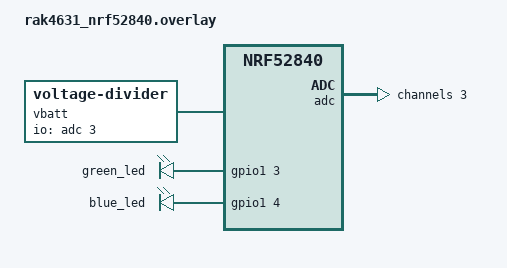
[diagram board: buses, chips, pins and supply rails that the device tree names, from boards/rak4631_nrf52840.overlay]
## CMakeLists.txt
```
# The nRF52840 port, built with Zephyr: the node every port shares (../node), the portable core
# from the top of the repository, and what is Zephyr's here (src/). See README.md:
#
#   west build -b heltec_t114_v2/nrf52840/uf2 ports/nrf52
cmake_minimum_required(VERSION 3.20.0)
find_package(Zephyr REQUIRED HINTS $ENV{ZEPHYR_BASE})
project(tern-nrf52 C)

set(root ${CMAKE_CURRENT_SOURCE_DIR}/../..)
set(node ${root}/ports/node)

# The core, file by file, as the top-level CMakeLists.txt lists it.
file(GLOB core ${root}/src/*.c)

target_sources(app PRIVATE
    src/platform.c
    src/board.c
    src/ble.c
    ${node}/node.c
    ${node}/link.c
    ${node}/demo.c
    ${node}/display.c
    ${node}/status.c
    ${node}/ui.c
    ${node}/qr.c
    ${node}/power.c
    ${core})
target_include_directories(app PRIVATE src ${node} ${root}/include)
# Warnings as the rest of the repository has them, on what is ours (not Zephyr's headers' doing).
target_compile_options(app PRIVATE -Wextra -Wshadow -Wno-unused-parameter -Werror)
```

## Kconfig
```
# The settings a Tern node is built with: those every port shares (../node/Kconfig.tern), and the
# board's names, from the Zephyr board the build is for (release.sh). Everything else about a board
# is its devicetree (src/board.c, boards/).

menu "Tern demo"

    config TERN_BOARD_NAME
        string
        default "heltec-t114" if BOARD_HELTEC_T114_V2
        default "rak4631" if BOARD_RAK4631
        default "wio-tracker-l1" if BOARD_WIO_TRACKER_L1
        help
            The name a client finds an image by: tern-<name>-<region>-<version>.

    config TERN_BOARD_TITLE
        string
        default "Heltec Mesh Node T114" if BOARD_HELTEC_T114_V2
        default "RAKwireless RAK4631" if BOARD_RAK4631
        default "Seeed Wio Tracker L1" if BOARD_WIO_TRACKER_L1
        help
            The board's name, as its maker sells it.

    config TERN_BUTTON_NAME
        string
        default "USER" if BOARD_HELTEC_T114_V2
        default "PRG"
        help
            What the board's button is marked, as its user looks for it, at most four
            characters. A board with no button (sw0) has none, whatever this says.

    rsource "../node/Kconfig.tern"

endmenu

source "Kconfig.zephyr"
```

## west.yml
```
# The Zephyr this port builds against, and only the modules it needs. With the repository checked
# out as `firmware` in an empty directory:
#
#   west init -l --mf ports/nrf52/west.yml firmware
#   west update
#
# Zephyr is a commit on main, not a release: the Heltec T114 V2's board came after v4.4's branch.
# It moves to v4.5 once that is released.
manifest:
  remotes:
    - name: zephyrproject-rtos
      url-base: https://github.com/zephyrproject-rtos
  projects:
    - name: zephyr
      remote: zephyrproject-rtos
      revision: 64437be51c302e42003b3b1dcbf45c8ad7fd1f08
      import:
        name-allowlist:
          - cmsis_6
          - hal_nordic
          - mbedtls
          - tf-psa-crypto
  self:
    path: firmware
```

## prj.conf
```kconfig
# What the node needs of Zephyr on an nRF52840.

# The node's loop runs in main(): a handshake's arithmetic needs more stack than most
# (tern/contact.h), and 'selftest' says how much is left.
CONFIG_MAIN_STACK_SIZE=16384
CONFIG_THREAD_STACK_INFO=y
CONFIG_INIT_STACKS=y
CONFIG_SPEED_OPTIMIZATIONS=y
CONFIG_PICOLIBC_IO_LONG_LONG=y

# The board: the radio's SPI bus and lines, the screen, the battery's ADC.
CONFIG_GPIO=y
CONFIG_SPI=y
CONFIG_ADC=y
CONFIG_DISPLAY=y
CONFIG_LORA=n

# The console, and the companion link a computer drives over it, are USB CDC ACM (the board's
# default). Nothing else writes to it: Zephyr's own log would land in the companion's stream.
CONFIG_SERIAL=y
CONFIG_UART_LINE_CTRL=y
CONFIG_LOG=n

# What the node saves: Zephyr's settings, on NVS, in the storage partition.
CONFIG_FLASH=y
CONFIG_FLASH_MAP=y
CONFIG_FLASH_PAGE_LAYOUT=y
CONFIG_NVS=y
CONFIG_SETTINGS=y
CONFIG_SETTINGS_NVS=y

# Keys from the chip's true generator.
CONFIG_ENTROPY_GENERATOR=y

CONFIG_REBOOT=y
CONFIG_POWEROFF=y

# The companion link over Bluetooth LE (src/ble.c): one peripheral connection, frames of up to 180
# bytes in one notification, and only LE Secure Connections pairing with a passkey the node shows,
# its bonds kept in the settings.
CONFIG_BT=y
CONFIG_BT_PERIPHERAL=y
CONFIG_BT_DEVICE_NAME="Tern"
CONFIG_BT_DEVICE_NAME_DYNAMIC=y
CONFIG_BT_MAX_CONN=1
CONFIG_BT_MAX_PAIRED=8
CONFIG_BT_SMP=y
CONFIG_BT_SMP_SC_ONLY=y
CONFIG_BT_BONDABLE=y
CONFIG_BT_APP_PASSKEY=y
CONFIG_BT_SETTINGS=y
CONFIG_BT_L2CAP_TX_MTU=247
CONFIG_BT_BUF_ACL_RX_SIZE=251
CONFIG_BT_BUF_ACL_TX_SIZE=251
CONFIG_BT_BUF_ACL_TX_COUNT=10
CONFIG_BT_BUF_EVT_RX_COUNT=12
CONFIG_BT_CTLR_DATA_LENGTH_MAX=251
CONFIG_BT_ATT_PREPARE_COUNT=0
# The thread that takes what the controller hears finishes a pairing, and LE Secure Connections'
# keys are worked out there with PSA's crypto: up to 1344 bytes of stack on a T114, measured, where
# Zephyr gives it 1200. With that, every pairing overflowed it and the board stopped dead.
CONFIG_BT_RX_STACK_SIZE=2048

# A relay's table of RELAY_PLACES destinations (the specification's routing draft): 48 KB of the
# nRF52840's 256. Built with it, the RAK4631 uses 204 KB (78%).
CONFIG_TERN_DESTINATIONS=1024

# The sessions, contacts, groups and cards it holds (ports/node/capacity.h): about 20 KB of RAM
# more than the smallest board's, and what its 32 KB storage partition keeps beside the messages.
CONFIG_TERN_SESSIONS=16
CONFIG_TERN_CONTACTS=32
CONFIG_TERN_GROUPS=8
CONFIG_TERN_CARDS=64
```

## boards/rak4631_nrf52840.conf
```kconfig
# The RAK4631's UF2 bootloader takes an image at the code partition the overlay lays out, and its
# console is USB CDC ACM, as on the boards whose Zephyr board says so itself.
CONFIG_BUILD_OUTPUT_UF2=y
CONFIG_USE_DT_CODE_PARTITION=y
CONFIG_USB_DEVICE_STACK_NEXT=y
CONFIG_USBD_CDC_ACM_CLASS=y
CONFIG_CDC_ACM_SERIAL_INITIALIZE_AT_BOOT=y
CONFIG_UART_CONSOLE=y
CONFIG_USE_SEGGER_RTT=n
```

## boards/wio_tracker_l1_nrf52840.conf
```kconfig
# The Wio Tracker L1's screen is on I2C.
CONFIG_I2C=y
```

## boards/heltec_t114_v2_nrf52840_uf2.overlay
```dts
/*
 * The T114 for this port. Its radio is driven by Tern's own SX1262 driver (src/sx126x.c), over
 * the bus and lines Zephyr's board gives it, so Zephyr's LoRa driver is not built. Its screen is
 * initialised once board_screen_init() has powered it (TFT_EN), not at boot.
 */

/ {
	/* The board's switches for the screen, its backlight, Vext and the battery's divider have
	 * no binding of their own; this one's makes their lines readable as GPIOs. No LED driver is
	 * built, so nothing else takes them. */
	board_controls {
		compatible = "gpio-leds";
	};

	/* The battery through 390k over 100k onto AIN2, behind a switch P0.06 turns on (Heltec's
	 * schematic, MeshNode-T114_V2.1), which Zephyr's board gives only as adc-control. */
	vbatt: vbatt {
		compatible = "voltage-divider";
		io-channels = <&adc 2>;
		output-ohms = <100000>;
		full-ohms = <490000>;
		power-gpios = <&gpio0 6 GPIO_ACTIVE_HIGH>;
	};
};

&lora {
	status = "disabled";
	/* The datasheet's 16 MHz, halved, as on the ESP32 boards. */
	spi-max-frequency = <8000000>;
};

&tft_display {
	zephyr,deferred-init;
};
```

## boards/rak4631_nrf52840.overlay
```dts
/*
 * The RAKwireless RAK4631, on a RAK19007 or RAK19003 base board, for this port. Zephyr's board for
 * it is laid out for MCUboot over SWD; the RAK4631 ships with Adafruit's UF2 bootloader over
 * SoftDevice S140 6.1.1 (RAKWireless/WisBlock, bootloader/RAK4630), so this lays the image out
 * for that, at 0x26000, with its console on USB. Where RAK's documents and Zephyr's board differ,
 * RAK's are taken:
 *
 *  - The antenna switch is powered from P1.05 (RAK4631 datasheet, "ANT_SW P1.05 - SX1262 RF switch
 *    power"; RAK's own Zephyr overlay drives it high), and DIO2 switches it between sending and
 *    receiving: on while the radio is, rather than Zephyr's rx-enable, low.
 *  - Its TCXO is set to 1.8 V from DIO3, as RAK's own patch for the board sets it
 *    (RAK4630-Amazon-Sidewalk-Example); the SX1262 runs from 3.3 V, below which DIO3 must be.
 *  - Its LEDs, green on P1.03 and blue on P1.04, light when high (RAK's bootloader, board.h,
 *    LED_STATE_ON 1).
 *
 * The base boards have no user button, only RESET. The battery is on WisBlock's AIN0, P0.05/AIN3,
 * through 1M over 1.5M with no switch (RAK4631 datasheet's schematic; Zephyr's RAK19007 shield).
 * Its radio is driven by Tern's own SX1262 driver (src/sx126x.c), so Zephyr's LoRa driver is not
 * built.
 */

/* Zephyr's board's MCUboot layout, out, and the UF2 bootloader's in. */
&flash0 {
	/delete-node/ partitions;
};

#include <nordic/nrf52840_partition_uf2_sdv6.dtsi>
#include <../boards/common/usb/cdc_acm_serial.dtsi>

&lora {
	status = "disabled";
	/delete-property/ rx-enable-gpios;
	antenna-enable-gpios = <&gpio1 5 GPIO_ACTIVE_HIGH>;
	dio3-tcxo-voltage = <SX126X_DIO3_TCXO_1V8>;
};

&green_led {
	gpios = <&gpio1 3 GPIO_ACTIVE_HIGH>;
};

&blue_led {
	gpios = <&gpio1 4 GPIO_ACTIVE_HIGH>;
};

/ {
	aliases {
		led0 = &green_led;
	};

	vbatt: vbatt {
		compatible = "voltage-divider";
		io-channels = <&adc 3>;
		output-ohms = <1500000>;
		full-ohms = <2500000>;
	};
};

&adc {
	#address-cells = <1>;
	#size-cells = <0>;

	channel@3 {
		reg = <3>;
		zephyr,gain = "ADC_GAIN_1_6";
		zephyr,reference = "ADC_REF_INTERNAL";
		/* The divider is megohms: the longest acquisition the SAADC has, for its sampling
		 * capacitor to charge through them. */
		zephyr,acquisition-time = <ADC_ACQ_TIME(ADC_ACQ_TIME_MICROSECONDS, 40)>;
		zephyr,input-positive = <NRF_SAADC_AIN3>;
		zephyr,resolution = <12>;
	};
};
```

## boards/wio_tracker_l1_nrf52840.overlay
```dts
/*
 * The Seeed Wio Tracker L1 for this port, over Zephyr's board for it (wio_tracker_l1): its radio
 * is driven by Tern's own SX1262 driver (src/sx126x.c), so Zephyr's LoRa driver is not built.
 * Everything else the node uses is Zephyr's board as it is, which agrees with Seeed's schematic
 * (Wio_Tracker_L1_Pro_SCH, v1.3) where that says: the radio's lines; the menu button on P0.08 (sw0);
 * the LED on P1.01 (led0); the 128x64 screen at 0x3D on I2C (zephyr,display), an SH1106 by
 * Zephyr's board, which Seeed's documents do not name; and the battery through an even divider
 * onto AIN7, behind a switch P0.04 turns on (vbatt). The module's RF_SW line, P1.08, has no level
 * in Seeed's documents; it is driven as Zephyr's board has it, high while receiving.
 *
 * The L1 Lite is the same board without a screen, and runs this image without one.
 */

&lora {
	status = "disabled";
};
```

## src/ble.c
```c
#include "ble.h"

#include <stdio.h>
#include <string.h>

#include <zephyr/bluetooth/bluetooth.h>
#include <zephyr/bluetooth/conn.h>
#include <zephyr/bluetooth/gatt.h>
#include <zephyr/bluetooth/uuid.h>
#include <zephyr/kernel.h>
#include <zephyr/random/random.h>
#include <zephyr/settings/settings.h>

/* The companion link over Bluetooth LE on Zephyr's host and the nRF52840's controller: the same
 * service, pairing and frames as the ESP32's over NimBLE (../../esp32/main/ble.c), which
 * draft/companion.md, "Bluetooth LE", defines. Zephyr reports from its own threads; what it
 * reports is queued for the loop's ble_poll(), so link.c is only ever called from the loop. */

/* The draft's UUIDs, least significant byte first. */
#define TERN_UUID(n)                                                                               \
    BT_UUID_INIT_128(0x40, 0xff, 0x50, 0xdd, 0x41, 0x17, 0x9b, 0x88, 0x1c, 0x4c, 0x17, 0xeb, (n),  \
                     0x00, 0x28, 0x7a)

static const struct bt_uuid_128 service_uuid = TERN_UUID(0x01);
static const struct bt_uuid_128 to_node_uuid = TERN_UUID(0x02);
static const struct bt_uuid_128 from_node_uuid = TERN_UUID(0x03);

#define EVENTS 8
/* Frames waiting for a buffer: more than the largest sync (link.h). */
#define WAITING 128

K_MSGQ_DEFINE(events, sizeof(struct ble_event), EVENTS, 4);

/* The client's connection, taken and let go of in Zephyr's threads; the loop takes a reference of
 * its own under `conn_lock` before using it (connection()). */
static struct bt_conn *conn;
static struct k_spinlock conn_lock;
static volatile uint32_t gen;    /* counts connections; the present one's */
static volatile bool paired;     /* the client on `conn` paired with a passkey */
static volatile bool subscribed; /* and asked for notifications */
static volatile uint32_t passkey_setting;
static volatile uint32_t shown_passkey; /* this pairing's, if the node chose it */
static bool have_screen;

static void post(const struct ble_event *e) {
    if (k_msgq_put(&events, e, K_NO_WAIT) != 0) {
        printf("bluetooth: an event was lost\n");
    }
}

static void post_kind(enum ble_event_kind kind, uint16_t mtu, uint32_t passkey) {
    struct ble_event e = {.kind = kind, .gen = gen, .mtu = mtu, .passkey = passkey};
    post(&e);
}

/* The loop's side: the connection the link has open, and the frames waiting to go to it. */
static uint32_t open_gen; /* 0: none */
static struct {
    uint8_t len;
    uint8_t frame[TERN_COMPANION_MAX_FRAME];
} waiting[WAITING];
static size_t first, n_waiting;

/* A client's write to the node: one frame. The characteristic asks for an encrypted link made by
 * LE Secure Connections with a passkey, which Zephyr enforces; it is refused whole if it is longer
 * than a frame, or comes in parts. */
static ssize_t on_write(struct bt_conn *c, const struct bt_gatt_attr *attr, const void *buf,
                        uint16_t len, uint16_t offset, uint8_t flags) {
    (void)attr;
    (void)flags;
    if (c != conn || !paired) {
        return BT_GATT_ERR(BT_ATT_ERR_AUTHENTICATION);
    }
    if (offset != 0) {
        return BT_GATT_ERR(BT_ATT_ERR_INVALID_OFFSET);
    }
    struct ble_event e = {.kind = BLE_FRAME, .gen = gen};
    if (len > sizeof e.frame) {
        return BT_GATT_ERR(BT_ATT_ERR_INVALID_ATTRIBUTE_LEN);
    }
    memcpy(e.frame, buf, len);
    e.len = len;
    post(&e);
    return len;
}

static void on_ccc(const struct bt_gatt_attr *attr, uint16_t value) {
    (void)attr;
    subscribed = value == BT_GATT_CCC_NOTIFY;
}

BT_GATT_SERVICE_DEFINE(tern_service, BT_GATT_PRIMARY_SERVICE(&service_uuid),
                       BT_GATT_CHARACTERISTIC(&to_node_uuid.uuid, BT_GATT_CHRC_WRITE,
                                              BT_GATT_PERM_WRITE_LESC, NULL, on_write, NULL),
                       BT_GATT_CHARACTERISTIC(&from_node_uuid.uuid, BT_GATT_CHRC_NOTIFY,
                                              BT_GATT_PERM_NONE, NULL, NULL, NULL),
                       BT_GATT_CCC(on_ccc, BT_GATT_PERM_READ | BT_GATT_PERM_WRITE_LESC));

/* The value attribute of from_node: the service's declaration, to_node's two, then its own. */
#define FROM_NODE_ATTR (&tern_service.attrs[4])

static const struct bt_data ad[] = {
    BT_DATA_BYTES(BT_DATA_FLAGS, (BT_LE_AD_GENERAL | BT_LE_AD_NO_BREDR)),
    BT_DATA(BT_DATA_UUID128_ALL, service_uuid.val, sizeof service_uuid.val),
};
/* What the scan response names the node: nothing of its address or its user's name for it. Set
 * by ble_start(). */
static char name[BLE_NAME_LEN + 1];
static struct bt_data sd[] = {
    {.type = BT_DATA_NAME_COMPLETE, .data = (const uint8_t *)name},
};

static void advertise(void) {
    int err = bt_le_adv_start(BT_LE_ADV_CONN_FAST_2, ad, ARRAY_SIZE(ad), sd, ARRAY_SIZE(sd));
    if (err != 0 && err != -EALREADY) {
        printf("bluetooth: could not advertise (%d)\n", err);
    }
}

static void on_connected(struct bt_conn *c, uint8_t err) {
    if (err != 0) {
        return;
    }
    k_spinlock_key_t key = k_spin_lock(&conn_lock);
    conn = bt_conn_ref(c);
    k_spin_unlock(&conn_lock, key);
    paired = subscribed = false;
    gen++;
    /* Ask for the pairing at once; a client that has a bond restores it instead. */
    if (bt_conn_set_security(c, BT_SECURITY_L4) != 0) {
        bt_conn_disconnect(c, BT_HCI_ERR_AUTH_FAIL);
    }
}

static void on_disconnected(struct bt_conn *c, uint8_t reason) {
    (void)reason;
    if (c != conn) {
        return;
    }
    if (paired) {
        post_kind(BLE_CLOSE, 0, 0);
    }
    paired = subscribed = false;
    k_spinlock_key_t key = k_spin_lock(&conn_lock);
    struct bt_conn *gone = conn;
    conn = NULL;
    k_spin_unlock(&conn_lock, key);
    bt_conn_unref(gone);
}

/* The controller frees its connection after the disconnection is reported: advertising again then,
 * with the one connection there is to give. */
static void on_recycled(void) { advertise(); }

static void on_security(struct bt_conn *c, bt_security_t level, enum bt_security_err err) {
    if (c != conn) {
        return;
    }
    post_kind(BLE_PAIRED, 0, 0);
    struct bt_conn_info info;
    /* Encrypted by a key from LE Secure Connections with a passkey, at full length: anything less
     * is not a client that may drive the node. */
    if (err != BT_SECURITY_ERR_SUCCESS || level < BT_SECURITY_L4 ||
        bt_conn_get_info(c, &info) != 0 || info.security.enc_key_size < 16) {
        printf("bluetooth: a link without passkey pairing; dropped\n");
        bt_conn_disconnect(c, BT_HCI_ERR_AUTH_FAIL);
        return;
    }
    if (!paired) {
        paired = true;
        post_kind(BLE_OPEN, bt_gatt_get_mtu(c), 0);
    }
}

BT_CONN_CB_DEFINE(conn_callbacks) = {
    .connected = on_connected,
    .disconnected = on_disconnected,
    .recycled = on_recycled,
    .security_changed = on_security,
};

static void on_mtu(struct bt_conn *c, uint16_t tx, uint16_t rx) {
    (void)rx;
    if (c == conn && paired) {
        post_kind(BLE_MTU, tx, 0);
    }
}

static struct bt_gatt_cb gatt_callbacks = {.att_mtu_updated = on_mtu};

/* A passkey from 0 to 999999, uniform, from the chip's true generator. */
static uint32_t random_passkey(void) {
    const uint32_t keys = 1000000, limit = UINT32_MAX - UINT32_MAX % keys;
    uint32_t r;
    do {
        sys_csrand_get(&r, sizeof r);
    } while (r >= limit);
    return r % keys;
}

/* The passkey for this pairing: the one set, or a new one to show on the screen. */
static uint32_t app_passkey(struct bt_conn *c) {
    (void)c;
    uint32_t key = passkey_setting;
    shown_passkey = BLE_PASSKEY_RANDOM;
    if (key == BLE_PASSKEY_RANDOM) {
        key = random_passkey();
        shown_passkey = key;
    }
    return key;
}

/* Only the node shows a passkey, and the client types it: Zephyr pairs as a display with no
 * keyboard, which with LE Secure Connections only is protection against a man in the middle. */
static void passkey_display(struct bt_conn *c, unsigned int passkey) {
    if (shown_passkey == BLE_PASSKEY_RANDOM) {
        return; /* the one set, which the user knows */
    }
    if (!have_screen) {
        printf("bluetooth: no passkey set and no screen to show one: not pairing. Set one over "
               "USB.\n");
        bt_conn_auth_cancel(c);
        return;
    }
    post_kind(BLE_PASSKEY, 0, passkey);
}

static void auth_cancel(struct bt_conn *c) { (void)c; }

static const struct bt_conn_auth_cb auth_callbacks = {
    .app_passkey = app_passkey,
    .passkey_display = passkey_display,
    .cancel = auth_cancel,
};

bool ble_start(const char *node_name, uint32_t passkey, bool screen) {
    snprintf(name, sizeof name, "%s", node_name);
    sd[0].data_len = (uint8_t)strlen(name);
    passkey_setting = passkey;
    have_screen = screen;
    if (bt_enable(NULL) != 0) {
        return false;
    }
    (void)settings_load_subtree("bt");
    /* After the settings, which keep the name the last start set: the GAP service's, for a client
     * that reads it once connected. */
    if (bt_set_name(name) != 0) {
        printf("bluetooth: could not set the name\n");
    }
    if (bt_conn_auth_cb_register(&auth_callbacks) != 0) {
        bt_disable();
        return false;
    }
    bt_gatt_cb_register(&gatt_callbacks);
    advertise();
    return true;
}

void ble_passkey(uint32_t passkey) { passkey_setting = passkey; }

/* The client's connection with a reference the caller holds and lets go of (bt_conn_unref()), so
 * that a disconnection in Zephyr's thread cannot free it while the loop uses it; or NULL. */
static struct bt_conn *connection(void) {
    k_spinlock_key_t key = k_spin_lock(&conn_lock);
    struct bt_conn *c = conn != NULL ? bt_conn_ref(conn) : NULL;
    k_spin_unlock(&conn_lock, key);
    return c;
}

/* Sends what is waiting, oldest first, until Zephyr is out of buffers; the rest goes on a later
 * call. What was queued for a connection that has since gone is dropped. */
static void pump(void) {
    if (open_gen == 0 || open_gen != gen) {
        n_waiting = 0;
        return;
    }
    struct bt_conn *c = connection();
    if (c == NULL) {
        return;
    }
    while (n_waiting > 0 && paired && subscribed) {
        int err = bt_gatt_notify(c, FROM_NODE_ATTR, waiting[first].frame, waiting[first].len);
        if (err == -ENOMEM || err == -EAGAIN || err == -ENOBUFS) {
            break;
        }
        if (err != 0) {
            printf("bluetooth: a frame to the client was lost (%d)\n", err);
        }
        first = (first + 1) % WAITING;
        n_waiting--;
    }
    bt_conn_unref(c);
}

bool ble_poll(struct ble_event *e) {
    pump();
    while (k_msgq_get(&events, e, K_NO_WAIT) == 0) {
        if (e->kind == BLE_OPEN) {
            open_gen = e->gen;
            n_waiting = 0;
            return true;
        }
        if (e->gen != open_gen) {
            /* From a connection the link no longer has: a frame written just before it went, or
             * a passkey for one that is pairing, which is the present connection's. */
            if (e->kind != BLE_PASSKEY && e->kind != BLE_PAIRED) {
                continue;
            }
            return true;
        }
        if (e->kind == BLE_CLOSE) {
            open_gen = 0;
            n_waiting = 0;
        }
        return true;
    }
    return false;
}

void ble_send(const uint8_t *frame, size_t len) {
    if (open_gen == 0 || len > TERN_COMPANION_MAX_FRAME) {
        return;
    }
    if (n_waiting == WAITING) {
        printf("bluetooth: too many frames waiting; one to the client was lost\n");
        return;
    }
    size_t i = (first + n_waiting) % WAITING;
    memcpy(waiting[i].frame, frame, len);
    waiting[i].len = (uint8_t)len;
    n_waiting++;
    pump();
}

bool ble_flush(uint32_t ms) {
    for (uint32_t waited = 0;; waited += 10) {
        pump();
        if (n_waiting == 0 || waited >= ms) {
            return n_waiting == 0;
        }
        k_msleep(10);
    }
}

/* bt_unpair() with any address forgets every bond, and drops the client connected. */
void ble_forget(void) { (void)bt_unpair(BT_ID_DEFAULT, BT_ADDR_LE_ANY); }

static void count_bond(const struct bt_bond_info *info, void *n) {
    (void)info;
    (*(unsigned *)n)++;
}

unsigned ble_paired(void) {
    unsigned n = 0;
    bt_foreach_bond(BT_ID_DEFAULT, count_bond, &n);
    return n;
}
```

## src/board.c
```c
#include "board.h"

#include <string.h>

#include <zephyr/device.h>
#include <zephyr/drivers/adc.h>
#include <zephyr/drivers/display.h>
#include <zephyr/drivers/gpio.h>
#include <zephyr/drivers/spi.h>
#include <zephyr/drivers/uart.h>
#include <zephyr/kernel.h>
#include <zephyr/sys/poweroff.h>
#include <zephyr/sys/reboot.h>

#include "power.h"
#include "tern/err.h"
#include "tern/sx126x.h"

/* An nRF52840 board wired to an SX1262, read from its devicetree: Zephyr's board for it, and this
 * port's overlay on it in boards/, which says what Zephyr's does not or overrides it where the
 * maker's documents disagree. So a board Zephyr has is an overlay and a line in Kconfig, not code
 * here. From the devicetree:
 *
 *   lora                 the SX1262 node (semtech,sx1262): its bus, reset-gpios, busy-gpios, its
 *                        TCXO's voltage (dio3-tcxo-voltage) and whether DIO2 drives the antenna
 *                        switch (dio2-tx-enable). Its antenna-enable-gpios, if it has them, are on
 *                        while the radio is, and its rx-enable-gpios and tx-enable-gpios while it
 *                        receives and while it sends, as Zephyr's own driver drives them.
 *   sw0, led0            the button and the LED, if the board has them
 *   zephyr,display       the screen, if it has one: a 128x64 monochrome panel whose memory is in
 *                        pages (the SSD1306 or SH1106), or a colour one the picture is drawn into
 *   vbatt                the battery's divider (voltage-divider): its ADC channel, its resistors,
 *                        and the switch that connects it (power-gpios), if any
 *   tft-en, tft-led-en,  switches a board's screen, backlight or external supply hangs on, if it
 *   vext-control         has them
 */

#define LORA DT_NODELABEL(lora)
#define VBATT DT_NODELABEL(vbatt)
#define NONE                                                                                       \
    { 0 }

static const struct spi_dt_spec lora_spi =
    SPI_DT_SPEC_GET(LORA, SPI_WORD_SET(8) | SPI_TRANSFER_MSB | SPI_OP_MODE_CONTROLLER);
static const struct gpio_dt_spec lora_reset = GPIO_DT_SPEC_GET(LORA, reset_gpios);
static const struct gpio_dt_spec lora_busy = GPIO_DT_SPEC_GET(LORA, busy_gpios);
static const struct gpio_dt_spec lora_ant = GPIO_DT_SPEC_GET_OR(LORA, antenna_enable_gpios, NONE);
static const struct gpio_dt_spec lora_rx = GPIO_DT_SPEC_GET_OR(LORA, rx_enable_gpios, NONE);
static const struct gpio_dt_spec lora_tx = GPIO_DT_SPEC_GET_OR(LORA, tx_enable_gpios, NONE);
static const struct gpio_dt_spec button = GPIO_DT_SPEC_GET_OR(DT_ALIAS(sw0), gpios, NONE);
static const struct gpio_dt_spec led = GPIO_DT_SPEC_GET_OR(DT_ALIAS(led0), gpios, NONE);
static const struct gpio_dt_spec tft_en = GPIO_DT_SPEC_GET_OR(DT_ALIAS(tft_en), gpios, NONE);
static const struct gpio_dt_spec tft_led_en =
    GPIO_DT_SPEC_GET_OR(DT_ALIAS(tft_led_en), gpios, NONE);
static const struct gpio_dt_spec vext = GPIO_DT_SPEC_GET_OR(DT_ALIAS(vext_control), gpios, NONE);
static const struct device *const console = DEVICE_DT_GET(DT_CHOSEN(zephyr_console));

#if DT_HAS_CHOSEN(zephyr_display)
static const struct device *const screen = DEVICE_DT_GET(DT_CHOSEN(zephyr_display));
#endif

#if DT_NODE_EXISTS(VBATT)
static const struct adc_dt_spec battery = ADC_DT_SPEC_GET(VBATT);
static const struct gpio_dt_spec battery_switch = GPIO_DT_SPEC_GET_OR(VBATT, power_gpios, NONE);
#define DIVIDER_FULL DT_PROP(VBATT, full_ohms)
#define DIVIDER_OUTPUT DT_PROP(VBATT, output_ohms)
#endif

/* The TCXO's supply from DIO3, in millivolts, from Zephyr's code for it (dt-bindings/lora/
 * sx126x.h), or 0 for a crystal. */
static const uint16_t tcxo_mv[] = {1600, 1700, 1800, 2200, 2400, 2700, 3000, 3300};
#if DT_NODE_HAS_PROP(LORA, dio3_tcxo_voltage)
#define TCXO_MV tcxo_mv[DT_PROP(LORA, dio3_tcxo_voltage)]
#else
#define TCXO_MV 0
#endif

#define BATTERY_SETTLE_US 2000
#define BATTERY_SAMPLES 16
#define BUSY_TIMEOUT_US 100000

#define POWER_MIN_DBM (-9) /* the SX1262's high-power amplifier */
#define POWER_MAX_DBM 22

static struct power_sense sense;
static bool have_adc;
static struct tern_sx126x sx;

/* Sets a line the board may not have. */
static void set(const struct gpio_dt_spec *g, int value) {
    if (g->port != NULL) {
        (void)gpio_pin_set_dt(g, value);
    }
}

static bool output(const struct gpio_dt_spec *g, gpio_flags_t flags) {
    return g->port == NULL || gpio_pin_configure_dt(g, flags) == 0;
}

const char *board_title(void) { return CONFIG_TERN_BOARD_TITLE; }
int8_t board_power_min(void) { return POWER_MIN_DBM; }
int8_t board_power_max(void) { return POWER_MAX_DBM; }
bool board_power_ok(int dbm) { return dbm >= POWER_MIN_DBM && dbm <= POWER_MAX_DBM; }

tern_time board_now(void) { return (tern_time)k_ticks_to_ns_floor64(k_uptime_ticks()); }

/* --- The radio ------------------------------------------------------------------------------- */

static tern_time bus_now(void *ctx) {
    (void)ctx;
    return board_now();
}

static int bus_transfer(void *ctx, const uint8_t *tx, uint8_t *rx, size_t len) {
    (void)ctx;
    /* The chip raises BUSY while it works on the last command and takes no new one until it
     * drops (datasheet section 8.3.1). */
    int64_t start = k_uptime_ticks();
    while (gpio_pin_get_dt(&lora_busy) == 1) {
        if (k_ticks_to_us_floor64(k_uptime_ticks() - start) > BUSY_TIMEOUT_US) {
            return TERN_EIO;
        }
    }
    const struct spi_buf tx_buf = {.buf = (void *)tx, .len = len};
    const struct spi_buf_set tx_set = {.buffers = &tx_buf, .count = 1};
    struct spi_buf rx_buf = {.buf = rx, .len = len};
    const struct spi_buf_set rx_set = {.buffers = &rx_buf, .count = 1};
    return spi_transceive_dt(&lora_spi, &tx_set, rx != NULL ? &rx_set : NULL) == 0 ? TERN_OK
                                                                                   : TERN_EIO;
}

int board_init(void) {
    if (!spi_is_ready_dt(&lora_spi) || !gpio_is_ready_dt(&lora_reset) ||
        gpio_pin_configure_dt(&lora_reset, GPIO_OUTPUT_INACTIVE) != 0 ||
        gpio_pin_configure_dt(&lora_busy, GPIO_INPUT) != 0 || !output(&led, GPIO_OUTPUT_INACTIVE) ||
        !output(&lora_rx, GPIO_OUTPUT_INACTIVE) || !output(&lora_tx, GPIO_OUTPUT_INACTIVE) ||
        !output(&lora_ant, GPIO_OUTPUT_ACTIVE)) {
        return TERN_EIO;
    }
    /* Hold NRESET low for over 100 us (section 8.1), then let the chip start. */
    gpio_pin_set_dt(&lora_reset, 1);
    k_busy_wait(1000);
    gpio_pin_set_dt(&lora_reset, 0);
    k_busy_wait(10000);

    struct tern_sx126x_bus sb = {.ctx = NULL, .transfer = bus_transfer, .now = bus_now};
    struct tern_sx126x_board wiring = {
        .tcxo_mv = TCXO_MV, .dio2_rf_switch = DT_PROP(LORA, dio2_tx_enable), .dcdc = true};
    return tern_sx126x_init(&sx, &sb, &wiring);
}

/* A board whose antenna switch has lines of its own (rx-enable-gpios, tx-enable-gpios) is driven
 * through a radio that wraps the chip's and sets them: the one for receiving while it receives,
 * the one for sending while a frame goes, and neither otherwise, as Zephyr's driver sets them. */

static struct tern_radio chip;

static void switch_to(bool rx, bool tx) {
    set(&lora_tx, tx ? 1 : 0);
    set(&lora_rx, rx ? 1 : 0);
}

static int sw_configure(void *ctx, const struct tern_radio_config *cfg) {
    (void)ctx;
    return chip.ops->configure(chip.ctx, cfg);
}

static int sw_transmit(void *ctx, const uint8_t *frame, uint8_t len) {
    (void)ctx;
    switch_to(false, true);
    int err = chip.ops->transmit(chip.ctx, frame, len);
    if (err != TERN_OK) {
        switch_to(false, false);
    }
    return err;
}

static int sw_receive(void *ctx) {
    (void)ctx;
    switch_to(true, false);
    return chip.ops->receive(chip.ctx);
}

static int sw_standby(void *ctx) {
    (void)ctx;
    switch_to(false, false);
    return chip.ops->standby(chip.ctx);
}

static int sw_poll(void *ctx, struct tern_radio_event *ev) {
    (void)ctx;
    int n = chip.ops->poll(chip.ctx, ev);
    if (n == 1 && ev->kind == TERN_RADIO_TX_DONE) {
        switch_to(false, false); /* the chip is in standby once a frame has gone */
    }
    return n;
}

static int sw_receiving(void *ctx) {
    (void)ctx;
    return chip.ops->receiving != NULL ? chip.ops->receiving(chip.ctx) : 0;
}

static const struct tern_radio_ops sw_ops = {
    .configure = sw_configure,
    .transmit = sw_transmit,
    .receive = sw_receive,
    .standby = sw_standby,
    .poll = sw_poll,
    .receiving = sw_receiving,
};

struct tern_radio board_radio(void) {
    chip = tern_sx126x_radio(&sx);
    if (lora_rx.port == NULL && lora_tx.port == NULL) {
        return chip;
    }
    return (struct tern_radio){.ops = &sw_ops, .ctx = NULL};
}

void board_radio_counts(struct board_radio_counts *c) {
    *c = (struct board_radio_counts){.preambles = sx.counts.preambles,
                                     .headers = sx.counts.headers,
                                     .header_errors = sx.counts.header_errors,
                                     .crc_errors = sx.counts.crc_errors,
                                     .frames = sx.counts.frames};
}

void board_radio_counts_reset(void) { sx.counts = (struct tern_sx126x_counts){0}; }

void board_radio_sleep(void) {
    if (sx.bus.transfer == NULL) {
        (void)board_init();
    }
    if (sx.bus.transfer != NULL) {
        (void)tern_sx126x_sleep(&sx);
    }
    switch_to(false, false);
    set(&lora_ant, 0);
}

/* --- The button and the LED ------------------------------------------------------------------ */

const char *board_button_name(void) { return button.port != NULL ? CONFIG_TERN_BUTTON_NAME : NULL; }

bool board_button(void) {
    static bool ready;
    if (button.port == NULL) {
        return false;
    }
    if (!ready) {
        if (gpio_pin_configure_dt(&button, GPIO_INPUT) != 0) {
            return false;
        }
        ready = true;
    }
    return gpio_pin_get_dt(&button) == 1;
}

void board_led(bool on) { set(&led, on ? 1 : 0); }

/* --- The screen ------------------------------------------------------------------------------ */

/* The node draws a 128x64 picture a page of eight rows at a time (display.h), a byte a column with
 * its lowest bit at the top. A monochrome panel that keeps its memory in such pages (Zephyr's
 * SCREEN_INFO_MONO_VTILED: the SSD1306 and the SH1106) takes each page as it is. A colour panel is
 * drawn into: the T114's 135x240 is mounted on its side, so the picture is turned to lie along it.
 *
 * Where the panel has room, as the T114's does, the picture is drawn twice the size along the
 * character grid it is drawn on: a picture row is two panel rows, so a line of text is sixteen, and
 * of each character's six columns the glyph's five are two panel columns each and the space after
 * it one. Every stroke of the text is then two pixels, and the 21 characters of a line are 231
 * across, which leaves a margin to the panel's edge. Twice the size along the other way too would
 * be 256, more than the 240 there are. What is drawn off the grid (the large line's letters, the
 * bar and a QR code's modules) comes out a pixel narrower in places. A panel without the room has
 * the picture at its own size, in its middle.
 *
 * Light on dark, as the node draws it, is white on black, except for a line drawn dark on light, as
 * the node draws each page's first: that is white on the accent colour, across the panel's width,
 * so the line's letters are not dark against a dark edge. Such a line is known by its last two
 * columns: they are past the 21 characters' 126, so text drawn dark on light leaves them lit, and
 * nothing else the node draws lights them whole. A layout of its own for the larger panel is for
 * later (docs/boards.md). */
#define PIC_W 128
#define PIC_H 64
#define CELL_W 6 /* a character's columns in the picture, its space included */
#define GRID_W ((PIC_W / CELL_W) * 11 + 4) /* the picture drawn along the grid: 235 columns */
#define PANEL_LONG_MAX 320                 /* the longest side of a panel drawn into */
#define NO_COL 0xFFu                       /* a panel column outside the picture */

/* Colours as the panel takes them: RGB565 sent its high byte first, where Zephyr keeps the low
 * byte first in memory and the SPI bus sends memory as it is. */
#define RGB565(r, g, b) ((uint16_t)((((r) >> 3) << 11) | (((g) >> 2) << 5) | ((b) >> 3)))
#define PANEL(c) ((uint16_t)(((c) >> 8) | (((c) & 0xFFu) << 8)))
#define LIT PANEL(RGB565(0xFF, 0xFF, 0xFF))
#define DARK PANEL(RGB565(0x00, 0x00, 0x00))
#define ACCENT PANEL(RGB565(0x00, 0x70, 0x90)) /* a deep teal: white on it is 5.6 to 1 */

#if DT_HAS_CHOSEN(zephyr_display)

static bool paged;                     /* monochrome, in pages: each page goes as it is */
static int panel_w, panel_h;           /* a colour panel's size, its long side down */
static int tall = 1;                   /* panel rows to a picture row */
static int at_y;                       /* where the picture's rows start across the short side */
static uint8_t col_of[PANEL_LONG_MAX]; /* the picture column each panel row shows */
static uint16_t strip[PIC_W * 8];      /* a page, turned, a few panel rows at a time */

static int panel_write(int x, int y, int w, int h, const void *pixels, size_t len) {
    struct display_buffer_descriptor d = {.buf_size = (uint32_t)len,
                                          .width = (uint16_t)w,
                                          .height = (uint16_t)h,
                                          .pitch = (uint16_t)w};
    return display_write(screen, (uint16_t)x, (uint16_t)y, &d, pixels);
}

bool board_screen_init(void) {
    if (!output(&tft_en, GPIO_OUTPUT_ACTIVE) || !output(&tft_led_en, GPIO_OUTPUT_INACTIVE)) {
        return false;
    }
    if (tft_en.port != NULL) {
        k_msleep(20); /* the panel's supply settles before its controller is reset and set up */
    }
    if (device_init(screen) != 0 && !device_is_ready(screen)) {
        return false;
    }
    struct display_capabilities caps;
    display_get_capabilities(screen, &caps);
    if ((caps.supported_pixel_formats & PIXEL_FORMAT_MONO01) != 0 &&
        (caps.screen_info & SCREEN_INFO_MONO_VTILED) != 0 &&
        (caps.screen_info & SCREEN_INFO_MONO_MSB_FIRST) == 0 && caps.x_resolution >= PIC_W &&
        caps.y_resolution >= PIC_H) {
        /* A set bit lit, as the node draws it. */
        if (display_set_pixel_format(screen, PIXEL_FORMAT_MONO01) != 0) {
            return false;
        }
        paged = true;
        static const uint8_t blank[PIC_W];
        for (int page = 0; page < PIC_H / 8; page++) {
            if (!board_screen_page(page, blank)) {
                return false;
            }
        }
    } else if (caps.current_pixel_format == PIXEL_FORMAT_RGB_565 &&
               caps.x_resolution >= PIC_H + 8 && caps.y_resolution >= PIC_W &&
               caps.y_resolution <= PANEL_LONG_MAX) {
        panel_w = caps.x_resolution;
        panel_h = caps.y_resolution;
        bool grid = panel_h >= GRID_W && panel_w >= 2 * PIC_H;
        int w_all = grid ? GRID_W : PIC_W;
        int at_x = (panel_h - w_all) / 2;
        tall = grid ? 2 : 1;
        at_y = (panel_w - tall * PIC_H) / 2;
        memset(col_of, NO_COL, sizeof col_of);
        for (int c = 0; c < PIC_W; c++) {
            int k = c % CELL_W;
            int x = grid ? c / CELL_W * 11 + 2 * k : c;
            int w = grid && k < CELL_W - 1 ? 2 : 1;
            for (int i = 0; i < w; i++) {
                col_of[at_x + x + i] = (uint8_t)c;
            }
        }
        /* Dark all over. */
        for (size_t i = 0; i < sizeof strip / sizeof strip[0]; i++) {
            strip[i] = DARK;
        }
        for (int y = 0; y < panel_h; y++) {
            if (panel_write(0, y, panel_w, 1, strip, (size_t)panel_w * 2) != 0) {
                return false;
            }
        }
    } else {
        return false; /* a panel the node's pages are not drawn for */
    }
    (void)display_blanking_off(screen);
    set(&tft_led_en, 1);
    return true;
}

bool board_screen_page(int page, const uint8_t data[128]) {
    if (paged) {
        return panel_write(0, page * 8, PIC_W, 8, data, PIC_W) == 0;
    }
    /* The page's rows lie across the panel's columns, h of them, and its columns along the panel's
     * rows, the whole long side with the margins: one way round or, with TERN_SCREEN_FLIP, the
     * other. */
    int h = 8 * tall;
#if CONFIG_TERN_SCREEN_FLIP
    int x = at_y + h * page; /* panel column of the page's first row */
#else
    int x = panel_w - at_y - h * (page + 1); /* panel column of the page's last row */
#endif
    bool title = data[PIC_W - 2] == 0xFF && data[PIC_W - 1] == 0xFF;
    uint16_t on = title ? ACCENT : LIT, off = title ? LIT : DARK;
    uint16_t margin = title ? ACCENT : DARK; /* the line's ground, to the panel's edges */
    int rows = (int)(sizeof strip / sizeof strip[0]) / h; /* panel rows a strip holds */
    for (int l0 = 0; l0 < panel_h; l0 += rows) {
        int l1 = l0 + rows < panel_h ? l0 + rows : panel_h;
        for (int l = l0; l < l1; l++) {
#if CONFIG_TERN_SCREEN_FLIP
            uint16_t *out = &strip[(l1 - 1 - l) * h];
#else
            uint16_t *out = &strip[(l - l0) * h];
#endif
            unsigned c = col_of[l];
            for (int j = 0; j < h; j++) {
#if CONFIG_TERN_SCREEN_FLIP
                int bit = j / tall;
#else
                int bit = (h - 1 - j) / tall;
#endif
                out[j] = c == NO_COL ? margin : (data[c] >> bit) & 1 ? on : off;
            }
        }
#if CONFIG_TERN_SCREEN_FLIP
        int top = panel_h - l1;
#else
        int top = l0;
#endif
        if (panel_write(x, top, h, l1 - l0, strip, (size_t)(h * (l1 - l0)) * 2) != 0) {
            return false;
        }
    }
    return true;
}

bool board_screen_power(bool on) {
    if (on) {
        /* On a panel without a backlight of its own, this is all that wakes it. */
        int err = display_blanking_off(screen);
        set(&tft_led_en, 1);
        return err == 0;
    }
    set(&tft_led_en, 0);
    return display_blanking_on(screen) == 0;
}

#else

bool board_screen_init(void) { return false; }
bool board_screen_page(int page, const uint8_t data[128]) { return false; }
bool board_screen_power(bool on) { return false; }

#endif

/* The panels here show each page as it arrives. */
void board_screen_poll(bool prompt) { (void)prompt; }
void board_screen_show(bool wait) { (void)wait; }

/* --- The battery ----------------------------------------------------------------------------- */

#if DT_NODE_EXISTS(VBATT)

bool board_battery_init(void) {
    if (!adc_is_ready_dt(&battery) || !output(&battery_switch, GPIO_OUTPUT_INACTIVE) ||
        adc_channel_setup_dt(&battery) != 0) {
        return false;
    }
    have_adc = true;
    return true;
}

/* The battery's millivolts with the switch's line at `level` (its level on the pin, whatever its
 * flags say), or 0 if the ADC would not say. */
static uint16_t battery_at(int level) {
    int16_t raw;
    struct adc_sequence seq = {.buffer = &raw, .buffer_size = sizeof raw};
    if (adc_sequence_init_dt(&battery, &seq) != 0) {
        return 0;
    }
    if (battery_switch.port != NULL) {
        (void)gpio_pin_set_raw(battery_switch.port, battery_switch.pin, level);
    }
    k_busy_wait(BATTERY_SETTLE_US);
    int32_t sum = 0;
    for (int i = 0; i < BATTERY_SAMPLES; i++) {
        if (adc_read_dt(&battery, &seq) != 0) {
            return 0;
        }
        int32_t mv = raw < 0 ? 0 : raw;
        if (adc_raw_to_millivolts_dt(&battery, &mv) != 0) {
            return 0;
        }
        sum += mv;
    }
    int64_t mv = (int64_t)(sum / BATTERY_SAMPLES) * DIVIDER_FULL / DIVIDER_OUTPUT;
    return (uint16_t)(mv > UINT16_MAX ? UINT16_MAX : mv);
}

/* As on the Heltec ESP32 boards, the switch's sense is learnt rather than assumed (power.h): the
 * devicetree's flags say which level turns it on, and the board finds so itself. */
uint16_t board_battery_mv(void) {
    if (!have_adc) {
        return 0;
    }
    if (battery_switch.port == NULL) {
        uint16_t mv = battery_at(0); /* a divider always connected */
        return mv < POWER_NONE_MV ? 0 : mv;
    }
    uint16_t low = 0, high = 0;
    if (!sense.known || !sense.high_enables) {
        low = battery_at(0);
    }
    if (!sense.known || sense.high_enables) {
        high = battery_at(1);
    }
    uint16_t mv = power_pick(&sense, low, high);
    (void)gpio_pin_set_raw(battery_switch.port, battery_switch.pin,
                           sense.known && !sense.high_enables ? 1 : 0);
    return mv;
}

static void battery_off(void) {
    if (battery_switch.port != NULL) {
        (void)gpio_pin_set_raw(battery_switch.port, battery_switch.pin,
                               sense.known && !sense.high_enables ? 1 : 0);
    }
}

#else

bool board_battery_init(void) { return false; }
uint16_t board_battery_mv(void) { return 0; }
static void battery_off(void) {}

#endif

/* --- Turning off ----------------------------------------------------------------------------- */

/* A start the timer gave, told apart from a press or power coming on by a word in RAM that a
 * restart keeps and power coming on does not. */
static __noinit uint32_t woke_by;
#define WOKE_BY_TIMER 0x54494d45u /* "TIME" */

bool board_woke_by_timer(void) {
    bool timer = woke_by == WOKE_BY_TIMER;
    woke_by = 0;
    return timer;
}

/* Off: the screen and its backlight unpowered, the LED and Vext off, and the chip in System OFF,
 * drawing a few microamps, once the button has been let go; a press starts it again from the
 * top, or on a board without one, RESET. System OFF has no timer to wake it, so a board asked to
 * wake after a while sleeps in System ON instead, idle, and restarts when the time is up or the
 * button is pressed. */
void board_off(uint32_t wake_after_s) {
    board_led(false);
    set(&tft_led_en, 0);
    (void)output(&tft_en, GPIO_OUTPUT_INACTIVE);
    (void)output(&vext, GPIO_OUTPUT_INACTIVE);
    battery_off();
    while (board_button()) {
        k_msleep(10);
    }
    k_msleep(50); /* the contacts settle */
    if (wake_after_s != 0) {
        for (uint32_t ms = 0; ms < wake_after_s * 1000u; ms += 100) {
            if (board_button()) {
                sys_reboot(SYS_REBOOT_COLD);
            }
            k_msleep(100);
        }
        woke_by = WOKE_BY_TIMER;
        sys_reboot(SYS_REBOOT_WARM);
    }
    if (button.port != NULL) {
        (void)gpio_pin_interrupt_configure_dt(&button, GPIO_INT_LEVEL_ACTIVE);
    }
    sys_poweroff();
}

/* --- The satellite receiver ------------------------------------------------------------------ */

/* None is driven on this port yet. */
bool board_gnss(void) { return false; }
bool board_gnss_power(bool on) { return !on; }
bool board_gnss_read(uint8_t *c) {
    (void)c;
    return false;
}

/* --- The console ----------------------------------------------------------------------------- */

/* USB CDC ACM, which the board makes its console: printf() goes there too. */
bool board_console_init(void) { return device_is_ready(console); }

bool board_console_read(uint8_t *c) { return uart_poll_in(console, c) == 0; }

void board_console_write(const uint8_t *buf, size_t len) {
    for (size_t i = 0; i < len; i++) {
        uart_poll_out(console, buf[i]);
    }
}

void board_console_flush(uint32_t ms) { k_msleep(ms < 100 ? ms : 100); }
```
